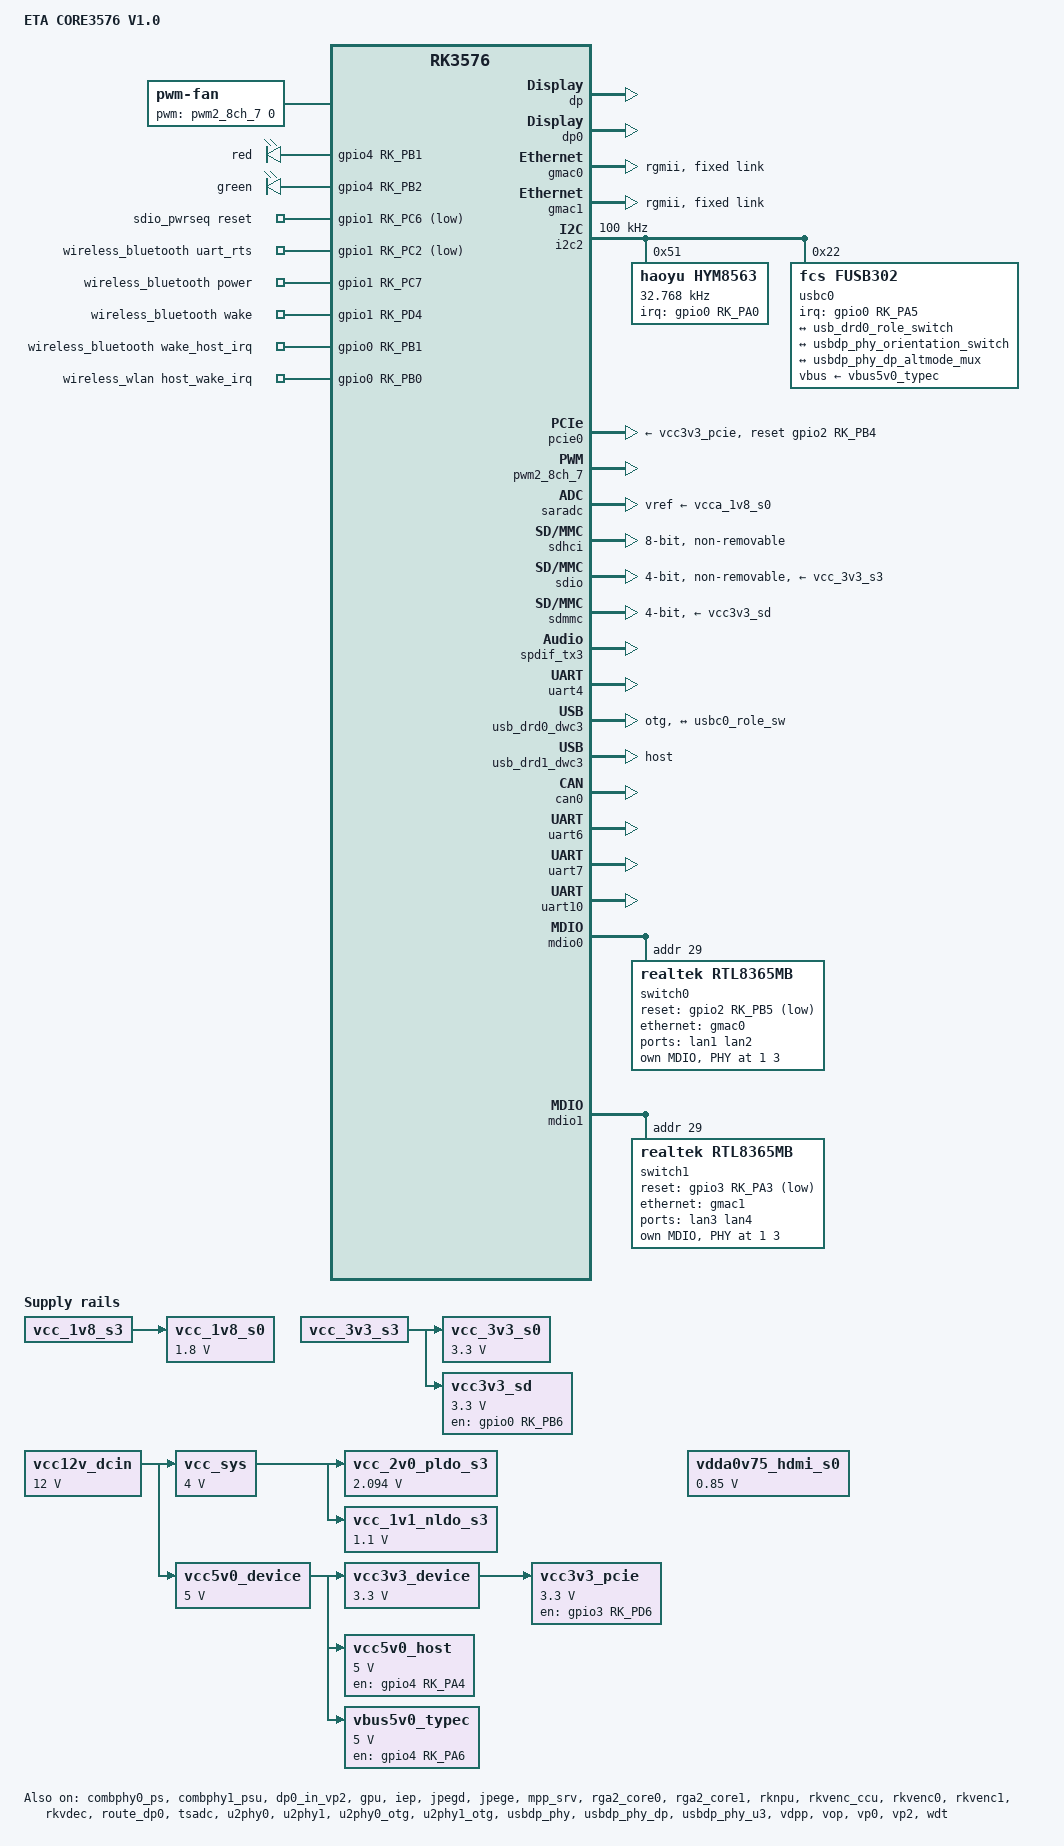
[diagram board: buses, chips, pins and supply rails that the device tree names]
// SPDX-License-Identifier: (GPL-2.0+ OR MIT)
/*
 * Copyright (c) 2024 Rockchip Electronics Co., Ltd.
 *
 * ETA-CORE3576 V1.0 board support.
 * Kernel build and BCM43752 Wi-Fi connectivity verified on hardware.
 * Ethernet awaits correction of the board RGMII TX/RX wiring.
 * See Documentation/arm64/eta-core3576-bringup.rst for validation status.
 *
 */

/dts-v1/;

#include <dt-bindings/display/rockchip_vop.h>
#include <dt-bindings/gpio/gpio.h>
#include <dt-bindings/leds/common.h>
#include <dt-bindings/pinctrl/rockchip.h>
#include <dt-bindings/pwm/pwm.h>
#include <dt-bindings/usb/pd.h>
#include "rk3576.dtsi"
#include "rk3576-rk806.dtsi"
#include "rk3576-linux.dtsi"

/ {
	model = "ETA CORE3576 V1.0";
	compatible = "eta,core3576", "rockchip,rk3576";

	dp0_sound: dp0-sound {
		compatible = "rockchip,hdmi";
		rockchip,mclk-fs = <512>;
		rockchip,card-name = "rockchip-dp0";
		rockchip,cpu = <&spdif_tx3>;
		rockchip,codec = <&dp0 1>;
		rockchip,jack-det;
	};

	fan: pwm-fan {
		compatible = "pwm-fan";
		#cooling-cells = <2>;
		pwms = <&pwm2_8ch_7 0 50000 0>;
		cooling-levels = <0 50 100 150 200 255>;
		rockchip,temp-trips = <
			50000	1
			55000	2
			60000	3
			65000	4
			70000	5
		>;
	};

	leds: leds {
		compatible = "gpio-leds";
		work_led: work {
			label = "red";
			gpios = <&gpio4 RK_PB1 GPIO_ACTIVE_HIGH>;
			linux,default-trigger = "default-off";
			default-state = "off";
		};

		active_led: active {
			label = "green";
			gpios = <&gpio4 RK_PB2 GPIO_ACTIVE_HIGH>;
			linux,default-trigger = "heartbeat";
			default-state = "on";
		};
	};

	sdio_pwrseq: sdio-pwrseq {
		compatible = "mmc-pwrseq-simple";
		clocks = <&hym8563>;
		clock-names = "ext_clock";
		pinctrl-names = "default";
		pinctrl-0 = <&wifi_poweren_gpio>;

		/*
		 * On the module itself this is one of these (depending
		 * on the actual card populated):
		 * - SDIO_RESET_L_WL_REG_ON
		 * - PDN (power down when low)
		 */
		post-power-on-delay-ms = <200>;
		reset-gpios = <&gpio1 RK_PC6 GPIO_ACTIVE_LOW>;
	};

	/* DCIN accepts 12-30 V; 12 V is the nominal input used here. */
	vcc12v_dcin: vcc12v-dcin {
		compatible = "regulator-fixed";
		regulator-name = "dcin";
		regulator-always-on;
		regulator-boot-on;
		regulator-min-microvolt = <12000000>;
		regulator-max-microvolt = <12000000>;
	};

	/* Page 22: PMIC input is VCC4V0_SYS_S3, separate from USB 5 V. */
	vcc_sys: vcc4v0-sys-s3 {
		compatible = "regulator-fixed";
		regulator-name = "vcc4v0_sys_s3";
		regulator-always-on;
		regulator-boot-on;
		regulator-min-microvolt = <4000000>;
		regulator-max-microvolt = <4000000>;
		vin-supply = <&vcc12v_dcin>;
	};

	vcc5v0_device: vcc5v0-device {
		compatible = "regulator-fixed";
		regulator-name = "vcc5v0_device";
		regulator-always-on;
		regulator-boot-on;
		regulator-min-microvolt = <5000000>;
		regulator-max-microvolt = <5000000>;
		vin-supply = <&vcc12v_dcin>;
	};

	vcc_2v0_pldo_s3: vcc-2v0-pldo-s3 {
		compatible = "regulator-fixed";
		regulator-name = "vcc_2v0_pldo_s3";
		regulator-boot-on;
		regulator-always-on;
		regulator-min-microvolt = <2094000>;
		regulator-max-microvolt = <2094000>;
		vin-supply = <&vcc_sys>;
	};

	vcc_1v1_nldo_s3: vcc-1v1-nldo-s3 {
		compatible = "regulator-fixed";
		regulator-name = "vcc_1v1_nldo_s3";
		regulator-boot-on;
		regulator-always-on;
		regulator-min-microvolt = <1100000>;
		regulator-max-microvolt = <1100000>;
		vin-supply = <&vcc_sys>;
	};

	vcc_1v8_s0: vcc-1v8-s0 {
		compatible = "regulator-fixed";
		regulator-name = "vcc_1v8_s0";
		regulator-boot-on;
		regulator-always-on;
		regulator-min-microvolt = <1800000>;
		regulator-max-microvolt = <1800000>;
		vin-supply = <&vcc_1v8_s3>;
	};

	vcc_3v3_s0: vcc-3v3-s0 {
		compatible = "regulator-fixed";
		regulator-name = "vcc_3v3_s0";
		regulator-boot-on;
		regulator-always-on;
		regulator-min-microvolt = <3300000>;
		regulator-max-microvolt = <3300000>;
		vin-supply = <&vcc_3v3_s3>;
	};

	vcc3v3_device: vcc3v3-device {
		compatible = "regulator-fixed";
		regulator-name = "vcc3v3_device_s0";
		regulator-min-microvolt = <3300000>;
		regulator-max-microvolt = <3300000>;
		regulator-boot-on;
		regulator-always-on;
		vin-supply = <&vcc5v0_device>;
	};

	/* Page 19: GPIO3_D6 high turns Q12 on, pulling the Q8 PMOS gate low. */
	vcc3v3_pcie: vcc3v3-pcie {
		compatible = "regulator-fixed";
		regulator-name = "vcc_pcie30";
		regulator-min-microvolt = <3300000>;
		regulator-max-microvolt = <3300000>;
		enable-active-high;
		gpio = <&gpio3 RK_PD6 GPIO_ACTIVE_HIGH>;
		startup-delay-us = <5000>;
		vin-supply = <&vcc3v3_device>;
		pinctrl-names = "default";
		pinctrl-0 = <&pcie_poweren>;
	};

	/* Page 19: SDMMC0_PWREN_H drives the U27 active-high enable. */
	vcc3v3_sd: vcc3v3-sd {
		compatible = "regulator-fixed";
		regulator-name = "vcc3v3_sd_s0";
		regulator-min-microvolt = <3300000>;
		regulator-max-microvolt = <3300000>;
		enable-active-high;
		gpio = <&gpio0 RK_PB6 GPIO_ACTIVE_HIGH>;
		startup-delay-us = <5000>;
		vin-supply = <&vcc_3v3_s3>;
		pinctrl-names = "default";
		pinctrl-0 = <&sd_poweren>;
	};

	vcc5v0_host: vcc5v0-host {
		compatible = "regulator-fixed";
		regulator-name = "vcc5v0_host";
		regulator-boot-on;
		regulator-always-on;
		regulator-min-microvolt = <5000000>;
		regulator-max-microvolt = <5000000>;
		enable-active-high;
		gpio = <&gpio4 RK_PA4 GPIO_ACTIVE_HIGH>;
		vin-supply = <&vcc5v0_device>;
		pinctrl-names = "default";
		pinctrl-0 = <&usb_host_pwren>;
	};

	vbus5v0_typec: vbus5v0-typec {
		compatible = "regulator-fixed";
		regulator-name = "vbus5v0_typec";
		regulator-min-microvolt = <5000000>;
		regulator-max-microvolt = <5000000>;
		enable-active-high;
		gpio = <&gpio4 RK_PA6 GPIO_ACTIVE_HIGH>;
		vin-supply = <&vcc5v0_device>;
		pinctrl-names = "default";
		pinctrl-0 = <&usb_otg0_pwren>;
	};

	/* BW3752-50B1 Bluetooth: UART4 M1 with power and wake controls. */
	wireless_bluetooth: wireless-bluetooth {
		compatible = "bluetooth-platdata";
		uart_rts_gpios = <&gpio1 RK_PC2 GPIO_ACTIVE_LOW>;
		pinctrl-names = "default", "rts_gpio";
		pinctrl-0 = <&uart4m1_rtsn>;
		pinctrl-1 = <&uart4m1_rts_gpio>;
		BT,power_gpio = <&gpio1 RK_PC7 GPIO_ACTIVE_HIGH>;
		BT,wake_gpio = <&gpio1 RK_PD4 GPIO_ACTIVE_HIGH>;
		BT,wake_host_irq = <&gpio0 RK_PB1 GPIO_ACTIVE_HIGH>;
		status = "okay";
	};

	/* BW3752-50B1 Wi-Fi: SDIO enumeration with the BCM43752 firmware profile. */
	wireless_wlan: wireless-wlan {
		compatible = "wlan-platdata";
		/* SDIO 02d0:aae8: use the SDK BCM43752 firmware profile. */
		wifi_chip_type = "ap6275s";
		keep_wifi_power_on;
		clocks = <&hym8563>;
		clock-names = "ext_clock";
		pinctrl-names = "default";
		pinctrl-0 = <&wifi_host_wake_irq>;
		WIFI,host_wake_irq = <&gpio0 RK_PB0 GPIO_ACTIVE_HIGH>;
		status = "okay";
	};
};

&combphy0_ps {
	status = "okay";
};

&combphy1_psu {
	status = "okay";
};

&cpu_l0 {
	cpu-supply = <&vdd_cpu_lit_s0>;
};

&cpu_b0 {
	cpu-supply = <&vdd_cpu_big_s0>;
};

&dp {
	status = "okay";
};

&dp0 {
	status = "okay";
};

&dp0_in_vp2 {
	status = "okay";
};

&dp0_sound {
	status = "okay";
};

/* RTL8363NB-VB switch, not a PHY at MDIO address 1.
 * RGMII TX/RX wiring must be corrected before Ethernet data-path testing.
 */
&gmac0 {
	phy-mode = "rgmii";
	clock_in_out = "output";
	pinctrl-names = "default";
	pinctrl-0 = <&eth0m0_miim &eth0m0_tx_bus2 &eth0m0_rx_bus2
		     &eth0m0_rgmii_clk &eth0m0_rgmii_bus>;
	tx_delay = <0x21>;
	rx_delay = <0x10>;
	status = "okay";

	/* CPU-to-switch RGMII link; external carrier belongs to DSA user ports. */
	fixed-link {
		speed = <1000>;
		full-duplex;
		pause;
	};
};

/* RTL8363NB-VB switch, not a PHY at MDIO address 1.
 * RGMII TX/RX wiring must be corrected before Ethernet data-path testing.
 */
&gmac1 {
	phy-mode = "rgmii";
	clock_in_out = "output";
	pinctrl-names = "default";
	pinctrl-0 = <&eth1m0_miim &eth1m0_tx_bus2 &eth1m0_rx_bus2
		     &eth1m0_rgmii_clk &eth1m0_rgmii_bus>;
	tx_delay = <0x21>;
	rx_delay = <0x10>;
	status = "okay";

	/* CPU-to-switch RGMII link; external carrier belongs to DSA user ports. */
	fixed-link {
		speed = <1000>;
		full-duplex;
		pause;
	};
};

&gpu {
	mali-supply = <&vdd_gpu_s0>;
	status = "okay";
};

/* HDMI/eDP signals are NC on schematic page 8. */
&hdmi {
	status = "disabled";
};

&hdmi_in_vp0 {
	status = "disabled";
};

&hdptxphy_hdmi {
	status = "disabled";
};

&i2c2 {
	pinctrl-names = "default";
	pinctrl-0 = <&i2c2m0_xfer>;
	clock-frequency = <100000>;
	status = "okay";

	hym8563: hym8563@51 {
		compatible = "haoyu,hym8563";
		reg = <0x51>;
		#clock-cells = <0>;
		clock-frequency = <32768>;
		clock-output-names = "hym8563";
		pinctrl-names = "default";
		pinctrl-0 = <&hym8563_int>;
		interrupt-parent = <&gpio0>;
		interrupts = <RK_PA0 IRQ_TYPE_LEVEL_LOW>;
		wakeup-source;
	};

	usbc0: fusb302@22 {
		compatible = "fcs,fusb302";
		reg = <0x22>;
		interrupt-parent = <&gpio0>;
		interrupts = <RK_PA5 IRQ_TYPE_LEVEL_LOW>;
		pinctrl-names = "default";
		pinctrl-0 = <&usbc0_int>;
		vbus-supply = <&vbus5v0_typec>;

		port {
			usbc0_role_sw: endpoint {
				remote-endpoint = <&usb_drd0_role_switch>;
			};
		};

		usb_con: connector {
			compatible = "usb-c-connector";
			label = "USB-C";
			data-role = "dual";
			power-role = "dual";
			try-power-role = "sink";
			op-sink-microwatt = <1000000>;
			sink-pdos =
				<PDO_FIXED(5000, 1000, PDO_FIXED_USB_COMM)>;
			source-pdos =
				<PDO_FIXED(5000, 2000, PDO_FIXED_USB_COMM)>;

			altmodes {
				#address-cells = <1>;
				#size-cells = <0>;

				altmode@0 {
					reg = <0>;
					svid = <0xff01>;
					vdo = <0xffffffff>;
				};
			};

			ports {
				#address-cells = <1>;
				#size-cells = <0>;

				port@0 {
					reg = <0>;
					usbc0_orien_sw: endpoint {
						remote-endpoint = <&usbdp_phy_orientation_switch>;
					};
				};

				port@1 {
					reg = <1>;
					dp_altmode_mux: endpoint {
						remote-endpoint = <&usbdp_phy_dp_altmode_mux>;
					};
				};
			};
		};
	};
};

&iep {
	status = "okay";
};

&iep_mmu {
	status = "okay";
};

&jpegd {
	status = "okay";
};

&jpege {
	status = "okay";
};

&jpeg_mmu {
	status = "okay";
};

&mpp_srv {
	status = "okay";
};

&pcie0 {
	pinctrl-names = "default";
	pinctrl-0 = <&pcie0m0_pins>;
	reset-gpios = <&gpio2 RK_PB4 GPIO_ACTIVE_HIGH>;
	vpcie3v3-supply = <&vcc3v3_pcie>;
	status = "okay";
};

&pinctrl {
	board-power {
		pcie_poweren: pcie-poweren {
			rockchip,pins = <3 RK_PD6 RK_FUNC_GPIO &pcfg_pull_none>;
		};
		sd_poweren: sd-poweren {
			rockchip,pins = <0 RK_PB6 RK_FUNC_GPIO &pcfg_pull_none>;
		};
	};
	bt {
		bt_enable: bt-enable {
			rockchip,pins = <1 RK_PC7 RK_FUNC_GPIO &pcfg_pull_none>;
		};

		bt_host_wake: bt-host-wake {
			rockchip,pins = <0 RK_PB1 RK_FUNC_GPIO &pcfg_pull_down>;
		};

		bt_wake: bt-wake {
			rockchip,pins = <1 RK_PD4 RK_FUNC_GPIO &pcfg_pull_none>;
		};
	};

	hym8563 {
		hym8563_int: hym8563-int {
			rockchip,pins = <0 RK_PA0 RK_FUNC_GPIO &pcfg_pull_up>;
		};
	};

	leds {
		led_rgb_r: led-red-en {
			rockchip,pins = <4 RK_PB1 RK_FUNC_GPIO &pcfg_pull_none>;
		};
		led_rgb_g: led-green-en {
			rockchip,pins = <4 RK_PB2 RK_FUNC_GPIO &pcfg_pull_none>;
		};
	};

	usb {
		usb_host_pwren: usb-host-pwren {
			rockchip,pins = <4 RK_PA4 RK_FUNC_GPIO &pcfg_pull_none>;
		};

		usb_otg0_pwren: usb-otg0-pwren {
			rockchip,pins = <4 RK_PA6 RK_FUNC_GPIO &pcfg_pull_none>;
		};

		usbc0_int: usbc0-int {
			rockchip,pins = <0 RK_PA5 RK_FUNC_GPIO &pcfg_pull_up>;
		};

	};

	wireless-bluetooth {
		uart4m1_rts_gpio: uart4m1-rts-gpio {
			rockchip,pins = <1 RK_PC2 RK_FUNC_GPIO &pcfg_pull_none>;
		};
	};

	wireless-wlan {
		wifi_host_wake_irq: wifi-host-wake-irq {
			rockchip,pins = <0 RK_PB0 RK_FUNC_GPIO &pcfg_pull_down>;
		};

		wifi_poweren_gpio: wifi-poweren-gpio {
			rockchip,pins = <1 RK_PC6 RK_FUNC_GPIO &pcfg_pull_none>;
		};
	};
};

&pwm2_8ch_7 {
	status = "okay";
	pinctrl-0 = <&pwm2m3_ch7>;
};

&rga2_core0 {
	status = "okay";
};

&rga2_core0_mmu {
	status = "okay";
};

&rga2_core1 {
	status = "okay";
};

&rga2_core1_mmu {
	status = "okay";
};

&rknpu {
	rknpu-supply = <&vdd_npu_s0>;
	status = "okay";
};

&rknpu_mmu {
	status = "okay";
};

&rkvenc_ccu {
	status = "okay";
};

&rkvenc0 {
	status = "okay";
};

&rkvenc0_mmu {
	status = "okay";
};

&rkvenc1 {
	status = "okay";
};

&rkvenc1_mmu {
	status = "okay";

};

&rkvdec {
	status = "okay";
};

&rkvdec_mmu {
	status = "okay";
};

&rockchip_suspend {
	status = "okay";
	rockchip,sleep-debug-en = <1>;

	rockchip,sleep-io-ret-config = <
		(0
		| RKPM_VCCIO3_RET_EN
		)
	>;
};

&route_dp0 {
	status = "okay";
	connect = <&vp2_out_dp0>;
};

&route_hdmi {
	status = "disabled";
};

&saradc {
	status = "okay";
	vref-supply = <&vcca_1v8_s0>;
};

&sdhci {
	bus-width = <8>;
	no-sdio;
	no-sd;
	non-removable;
	max-frequency = <200000000>;
	mmc-hs400-1_8v;
	mmc-hs400-enhanced-strobe;
	full-pwr-cycle-in-suspend;
	status = "okay";
};

&sdio {
	vmmc-supply = <&vcc_3v3_s3>;
	vqmmc-supply = <&vcc_1v8_s3>;
	max-frequency = <100000000>;
	no-sd;
	no-mmc;
	bus-width = <4>;
	disable-wp;
	cap-sd-highspeed;
	cap-sdio-irq;
	keep-power-in-suspend;
	mmc-pwrseq = <&sdio_pwrseq>;
	non-removable;
	pinctrl-names = "default";
	pinctrl-0 = <&sdmmc1m0_bus4 &sdmmc1m0_clk &sdmmc1m0_cmd>;
	sd-uhs-sdr50;
	sd-uhs-sdr104;
	status = "okay";
};

&sdmmc {
	vmmc-supply = <&vcc3v3_sd>;
	pinctrl-names = "default";
	pinctrl-0 = <&sdmmc0_clk &sdmmc0_cmd &sdmmc0_det &sdmmc0_bus4>;
	max-frequency = <200000000>;
	no-sdio;
	no-mmc;
	bus-width = <4>;
	cap-mmc-highspeed;
	cap-sd-highspeed;
	disable-wp;
	sd-uhs-sdr104;
	vqmmc-supply = <&vccio_sd_s0>;
	status = "okay";
};

&spdif_tx3 {
	status = "okay";
};

&tsadc {
	status = "okay";
};

&u2phy0 {
	status = "okay";
};

&u2phy1 {
	status = "okay";
};

&u2phy0_otg {
	rockchip,typec-vbus-det;
	status = "okay";
};

&u2phy1_otg {
	phy-supply = <&vcc5v0_host>;
	status = "okay";
};

&uart4 {
	status = "okay";
	pinctrl-names = "default";
	pinctrl-0 = <&uart4m1_xfer &uart4m1_ctsn>;
};

/* UFS and its 26 MHz oscillator are not populated (pages 1, 16). */
&ufs {
	status = "disabled";
};

&usbdp_phy {
	orientation-switch;
	svid = <0xff01>;
	sbu1-dc-gpios = <&gpio2 RK_PA6 GPIO_ACTIVE_HIGH>;
	sbu2-dc-gpios = <&gpio2 RK_PA7 GPIO_ACTIVE_HIGH>;
	status = "okay";

	port {
		#address-cells = <1>;
		#size-cells = <0>;

		usbdp_phy_orientation_switch: endpoint@0 {
			reg = <0>;
			remote-endpoint = <&usbc0_orien_sw>;
		};

		usbdp_phy_dp_altmode_mux: endpoint@1 {
			reg = <1>;
			remote-endpoint = <&dp_altmode_mux>;
		};
	};
};

&usbdp_phy_dp {
	status = "okay";
};

&usbdp_phy_u3 {
	status = "okay";
};

&usb_drd0_dwc3 {
	dr_mode = "otg";
	usb-role-switch;
	status = "okay";
	port {
		usb_drd0_role_switch: endpoint {
			remote-endpoint = <&usbc0_role_sw>;
		};
	};
};

&usb_drd1_dwc3 {
	dr_mode = "host";
	status = "okay";
};

&vdpp {
	status = "okay";
};

&vop {
	status = "okay";
	/* vop-supply = <&vdd_logic_s0>; */
};

&vop_mmu {
	status = "okay";
};

&vp0 {
	assigned-clocks = <&cru DCLK_VP0_SRC>;
    assigned-clock-parents = <&cru PLL_VPLL>;
	status = "okay";
};

&vp2 {
	status = "okay";
};

/* watchdog */
&wdt {
	status = "okay";
};
/* Page 21: isolated CAN transceiver CA-IS2062A, no software enable pin. */
&can0 {
	pinctrl-names = "default";
	pinctrl-0 = <&can0m1_pins>;
	status = "okay";
};

/* UART0 M0 stays owned by fiq_debugger, 1500000 baud (CN1). */
&uart6 {
	pinctrl-names = "default";
	pinctrl-0 = <&uart6m3_xfer>;
	status = "okay";
};

&uart7 {
	pinctrl-names = "default";
	pinctrl-0 = <&uart7m0_xfer>;
	status = "okay";
};

&uart10 {
	pinctrl-names = "default";
	pinctrl-0 = <&uart10m2_xfer>;
	status = "okay";
};

/* Page 12: NLDO3 output is annotated 0.85 V on this board. */
&vdda0v75_hdmi_s0 {
	regulator-min-microvolt = <850000>;
	regulator-max-microvolt = <850000>;
};

&mdio0 {
	switch0: switch@1d {
		dsa,member = <0 0>;
		compatible = "realtek,rtl8365mb";
		reg = <0x1d>;
		reset-gpios = <&gpio2 RK_PB5 GPIO_ACTIVE_LOW>;

		/* Both U20 connectors expose only two twisted pairs. */
		mdio {
			#address-cells = <1>;
			#size-cells = <0>;

			u20_phy1: ethernet-phy@1 {
				reg = <1>;
				max-speed = <100>;
			};

			u20_phy3: ethernet-phy@3 {
				reg = <3>;
				max-speed = <100>;
			};
		};
		ports {
			#address-cells = <1>;
			#size-cells = <0>;
			port@1 {
				reg = <1>;
				label = "lan1";
				phy-handle = <&u20_phy1>;
			};
			port@3 {
				reg = <3>;
				label = "lan2";
				phy-handle = <&u20_phy3>;
			};
			port@6 {
				reg = <6>;
				ethernet = <&gmac0>;
				phy-mode = "rgmii";
				fixed-link {
					speed = <1000>;
					full-duplex;
					pause;
				};
			};
		};
	};
};

&mdio1 {
	switch1: switch@1d {
		dsa,member = <1 0>;
		compatible = "realtek,rtl8365mb";
		reg = <0x1d>;
		reset-gpios = <&gpio3 RK_PA3 GPIO_ACTIVE_LOW>;

		mdio {
			#address-cells = <1>;
			#size-cells = <0>;

			/* J9 exposes two pairs through U7006 (schematic page 18). */
			u21_phy1: ethernet-phy@1 {
				reg = <1>;
				max-speed = <100>;
			};

			u21_phy3: ethernet-phy@3 {
				reg = <3>;
			};
		};
		ports {
			#address-cells = <1>;
			#size-cells = <0>;
			port@3 {
				reg = <3>;
				label = "lan3";
				phy-handle = <&u21_phy3>;
			};
			port@1 {
				reg = <1>;
				label = "lan4";
				phy-handle = <&u21_phy1>;
			};
			port@6 {
				reg = <6>;
				ethernet = <&gmac1>;
				phy-mode = "rgmii";
				fixed-link {
					speed = <1000>;
					full-duplex;
					pause;
				};
			};
		};
	};
};
